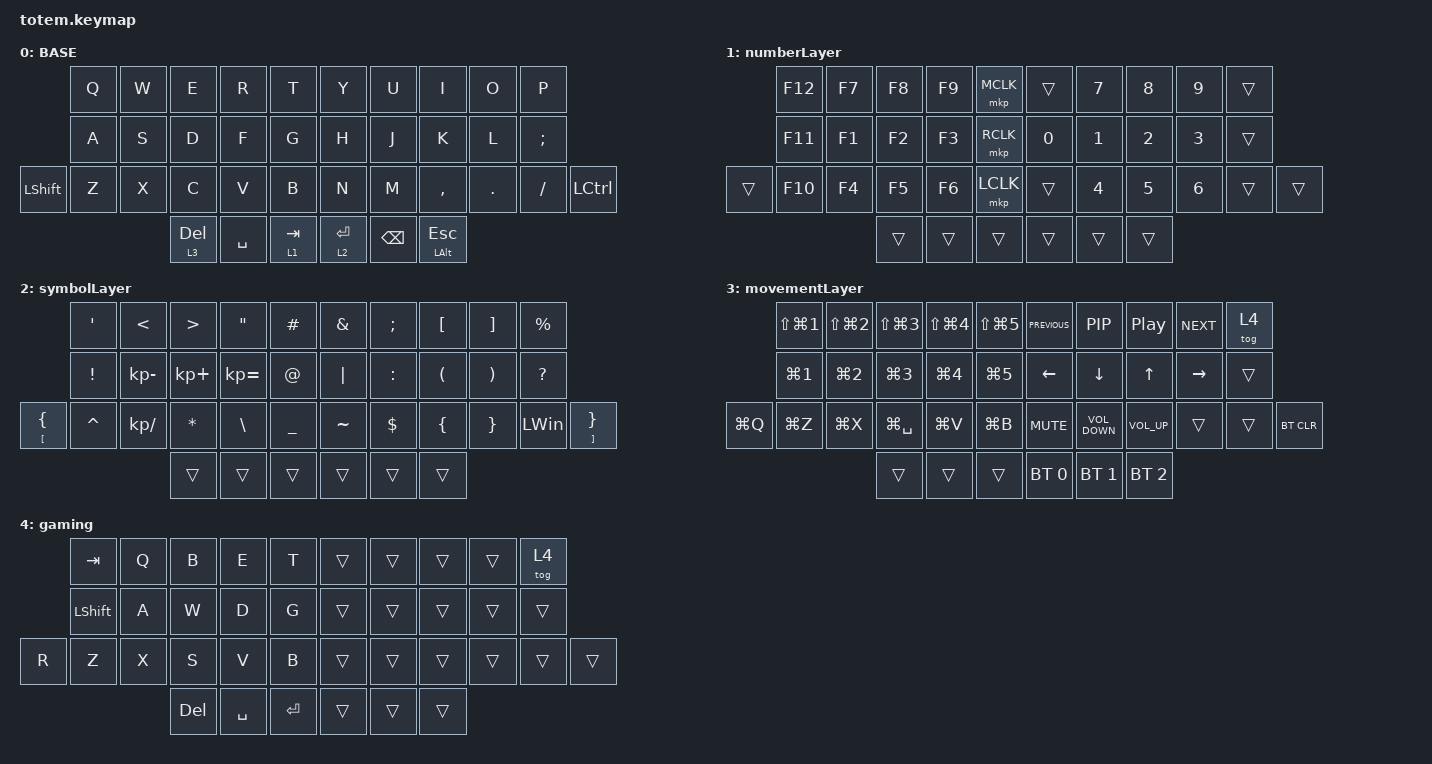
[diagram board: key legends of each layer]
#include <dt-bindings/zmk/mouse.h>
#include <behaviors.dtsi>
#include <dt-bindings/zmk/bt.h>
#include <dt-bindings/zmk/keys.h>
#include <dt-bindings/zmk/pointing.h>

&mt {
    quick-tap-ms = <200>;
    global-quick-tap;
    flavor = "tap-preferred";
    tapping-term-ms = <350>;
};

/ {
    combos { compatible = "zmk,combos"; };

    keymap {
        compatible = "zmk,keymap";

        baseLayer {
            bindings = <
                &kp Q  &kp W  &kp E         &kp R      &kp T        &kp Y        &kp U          &kp I                &kp O       &kp P
                &kp A  &kp S  &kp D         &kp F      &kp G        &kp H        &kp J          &kp K                &kp L       &kp SEMICOLON
&kp LEFT_SHIFT  &kp Z  &kp X  &kp C         &kp V      &kp B        &kp N        &kp M          &kp COMMA            &kp PERIOD  &kp SLASH      &kp LEFT_CONTROL
                              &lt 3 DELETE  &kp SPACE  &lt 1 TAB    &lt 2 ENTER  &kp BACKSPACE  &mt LEFT_ALT ESCAPE
            >;

            label = "BASE";
        };

        numberLayer {
            bindings = <
        &kp F12  &kp F7  &kp F8  &kp F9  &mkp MCLK    &trans        &kp NUMBER_7  &kp NUMBER_8  &kp NUMBER_9  &trans
        &kp F11  &kp F1  &kp F2  &kp F3  &mkp RCLK    &kp NUMBER_0  &kp NUMBER_1  &kp NUMBER_2  &kp NUMBER_3  &trans
&trans  &kp F10  &kp F4  &kp F5  &kp F6  &mkp LCLK    &trans        &kp NUMBER_4  &kp NUMBER_5  &kp NUMBER_6  &trans  &trans
                         &trans  &trans  &trans       &trans        &trans        &trans
            >;
        };

        symbolLayer {
            bindings = <
                             &kp SINGLE_QUOTE  &kp LESS_THAN  &kp GREATER_THAN  &kp DOUBLE_QUOTES  &kp HASH     &kp AMPERSAND  &kp SEMICOLON  &kp LEFT_BRACKET      &kp RIGHT_BRACKET      &kp PERCENT
                             &kp EXCLAMATION   &kp KP_MINUS   &kp KP_PLUS       &kp KP_EQUAL       &kp AT       &kp PIPE       &kp COLON      &kp LEFT_PARENTHESIS  &kp RIGHT_PARENTHESIS  &kp QUESTION
&mt LEFT_BRACKET LEFT_BRACE  &kp CARET         &kp KP_DIVIDE  &kp ASTRK         &kp BACKSLASH      &kp UNDER    &kp TILDE      &kp DOLLAR     &kp LEFT_BRACE        &kp RIGHT_BRACE        &kp LEFT_WIN  &mt RIGHT_BRACKET RIGHT_BRACE
                                                              &trans            &trans             &trans       &trans         &trans         &trans
            >;
        };

        movementLayer {
            bindings = <
           &kp LS(LG(NUMBER_1))  &kp LS(LG(NUMBER_2))  &kp LS(LG(NUMBER_3))  &kp LS(LG(NUMBER_4))  &kp LS(LG(N5))    &kp C_PREVIOUS  &kp C_PIP          &kp C_PP         &kp C_NEXT  &tog 4
           &kp LG(NUMBER_1)      &kp LG(NUMBER_2)      &kp LG(NUMBER_3)      &kp LG(NUMBER_4)      &kp LG(N5)        &kp LEFT        &kp DOWN           &kp UP_ARROW     &kp RIGHT   &trans
&kp LG(Q)  &kp LG(Z)             &kp LG(X)             &kp LG(SPACE)         &kp LG(V)             &kp LG(B)         &kp K_MUTE      &kp C_VOLUME_DOWN  &kp C_VOLUME_UP  &trans      &trans  &bt BT_CLR
                                                       &trans                &trans                &trans            &bt BT_SEL 0    &bt BT_SEL 1       &bt BT_SEL 2
            >;
        };

        gaming {
            bindings = <
       &kp TAB         &kp Q  &kp B    &kp E      &kp T      &trans  &trans  &trans  &trans  &tog 4
       &kp LEFT_SHIFT  &kp A  &kp W    &kp D      &kp G      &trans  &trans  &trans  &trans  &trans
&kp R  &kp Z           &kp X  &kp S    &kp V      &kp B      &trans  &trans  &trans  &trans  &trans  &trans
                              &kp DEL  &kp SPACE  &kp RET    &trans  &trans  &trans
            >;
        };
    };
};
